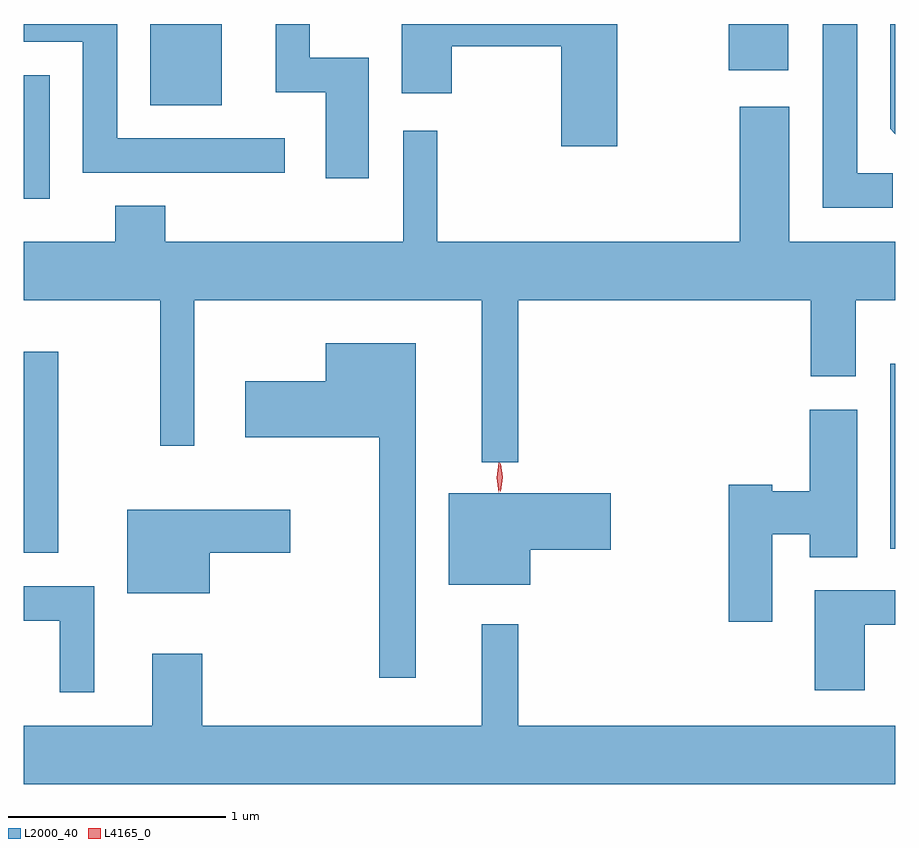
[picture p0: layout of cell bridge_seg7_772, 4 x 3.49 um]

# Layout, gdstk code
import gdstk
lib = gdstk.Library(unit=1e-6, precision=1e-09)
def R(c, l, rs):  # rectangles x0, y0, x1, y1
    for r in rs: c.add(gdstk.rectangle(r[:2], r[2:], *l))
def P(c, l, *ps):  # polygons
    for p in ps: c.add(gdstk.Polygon(p, *l))
L2000_40 = (2000, 40)
L4165_0 = (4165, 0)

bridge_seg7_772 = lib.new_cell('bridge_seg7_772')
R(bridge_seg7_772, L2000_40, [(281.25,1739.796,281.409,1740.719), (285.226,1739.816,285.25,1740.664), (281.25,1741.421,281.369,1741.989), (281.831,1741.851,282.159,1742.223), (284.486,1742.011,284.759,1742.223)])
P(bridge_seg7_772, L2000_40, [(285.238,1741.539),(285.074,1741.539),(285.074,1742.223),(284.916,1742.223),(284.916,1741.381),(285.238,1741.381)],
  [(282.834,1742.069),(282.564,1742.069),(282.564,1742.223),(282.406,1742.223),(282.406,1741.911),(282.636,1741.911),(282.636,1741.516),(282.834,1741.516)],
  [(283.974,1742.223),(282.791,1742.223),(282.791,1742.221),(282.986,1742.221),(282.986,1741.906),(283.214,1741.906),(283.214,1742.121),(283.716,1742.121),(283.716,1741.661),(283.974,1741.661)],
  [(285.25,1742.223),(285.226,1742.223),(285.226,1741.742),(285.25,1741.718)],
  [(282.448,1741.699),(281.679,1741.699),(281.679,1742.223),(281.25,1742.223),(281.25,1742.141),(281.521,1742.141),(281.521,1741.541),(282.448,1741.541)],
  [(283.149,1741.733),(282.991,1741.733),(282.991,1741.224),(281.899,1741.224),(281.899,1741.389),(281.671,1741.389),(281.671,1741.224),(281.25,1741.224),(281.25,1740.956),(281.876,1740.956),(281.876,1740.288),(282.034,1740.288),(282.034,1740.956),(283.351,1740.956),(283.351,1740.213),(283.519,1740.213),(283.519,1740.956),(284.861,1740.956),(284.861,1740.606),(285.069,1740.606),(285.069,1740.956),(285.25,1740.956),(285.25,1741.224),(284.764,1741.224),(284.764,1741.844),(284.536,1741.844),(284.536,1741.224),(283.149,1741.224)],
  [(283.049,1740.759),(282.636,1740.759),(282.636,1740.584),(282.266,1740.584),(282.266,1740.326),(282.881,1740.326),(282.881,1739.223),(283.049,1739.223)],
  [(284.684,1739.881),(284.856,1739.881),(284.856,1739.776),(285.074,1739.776),(285.074,1740.454),(284.856,1740.454),(284.856,1740.079),(284.684,1740.079),(284.684,1740.109),(284.486,1740.109),(284.486,1739.481),(284.684,1739.481)],
  [(283.574,1739.811),(283.944,1739.811),(283.944,1740.069),(283.201,1740.069),(283.201,1739.651),(283.574,1739.651)],
  [(282.104,1739.796),(282.474,1739.796),(282.474,1739.994),(281.726,1739.994),(281.726,1739.611),(282.104,1739.611)],
  [(281.574,1739.644),(281.25,1739.644),(281.25,1739.486),(281.416,1739.486),(281.416,1739.158),(281.574,1739.158)],
  [(285.109,1739.466),(285.25,1739.466),(285.25,1739.624),(284.881,1739.624),(284.881,1739.166),(285.109,1739.166)],
  [(285.25,1739.004),(283.519,1739.004),(283.519,1739.468),(283.351,1739.468),(283.351,1739.004),(282.069,1739.004),(282.069,1739.334),(281.841,1739.334),(281.841,1739.004),(281.25,1739.004),(281.25,1738.736),(285.25,1738.736)])
P(bridge_seg7_772, L4165_0, [(283.429,1740.074),(283.42,1740.142),(283.43,1740.21),(283.431,1740.21),(283.432,1740.21),(283.44,1740.142),(283.43,1740.074),(283.43,1740.074)],
  [(283.438,1740.08),(283.438,1740.08),(283.428,1740.144),(283.438,1740.206),(283.438,1740.207),(283.439,1740.206),(283.448,1740.144),(283.439,1740.08)])

lib.write_gds('bridge_seg7_772.gds')
